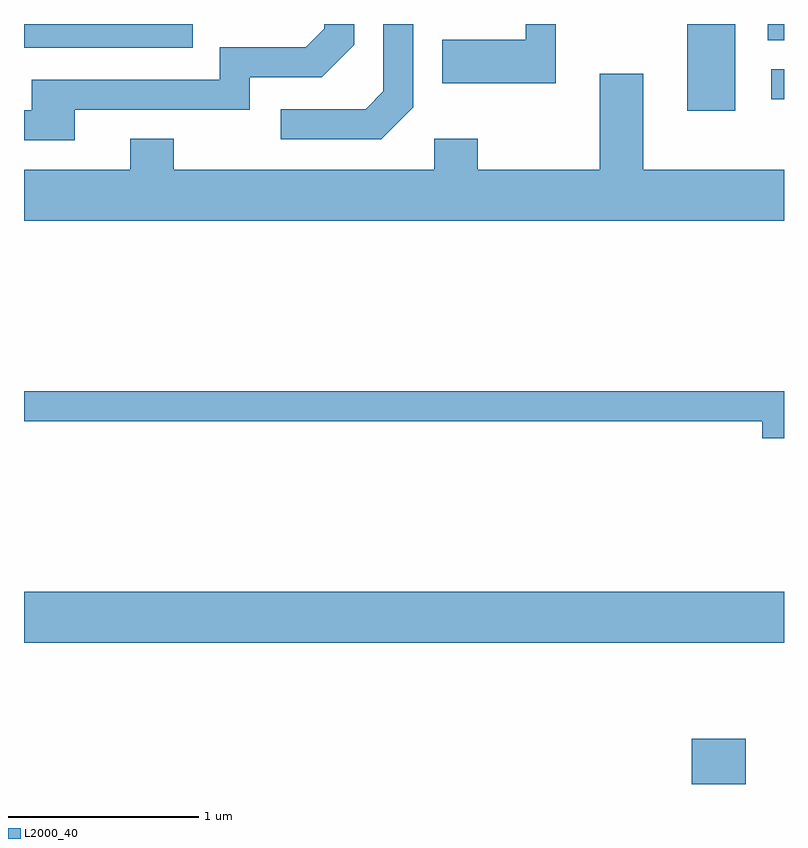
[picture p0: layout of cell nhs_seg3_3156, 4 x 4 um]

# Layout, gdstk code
import gdstk
lib = gdstk.Library(unit=1e-6, precision=1e-09)
def R(c, l, rs):  # rectangles x0, y0, x1, y1
    for r in rs: c.add(gdstk.rectangle(r[:2], r[2:], *l))
def P(c, l, *ps):  # polygons
    for p in ps: c.add(gdstk.Polygon(p, *l))
L2000_40 = (2000, 40)

nhs_seg3_3156 = lib.new_cell('nhs_seg3_3156')
R(nhs_seg3_3156, L2000_40, [(281.126,1171.892,281.409,1172.129), (277.611,1172.636,281.611,1172.904), (281.101,1175.436,281.354,1175.892), (281.543,1175.496,281.611,1175.654), (277.611,1175.766,278.498,1175.892), (281.526,1175.806,281.611,1175.892)])
P(nhs_seg3_3156, L2000_40, [(280.409,1175.892),(280.251,1175.892),(280.251,1175.809),(279.811,1175.809),(279.811,1175.581),(280.409,1175.581)],
  [(279.659,1175.454),(279.659,1175.892),(279.501,1175.892),(279.501,1175.537),(279.409,1175.444),(278.963,1175.444),(278.963,1175.286),(279.492,1175.286)],
  [(277.879,1175.441),(278.799,1175.441),(278.799,1175.611),(279.177,1175.611),(279.349,1175.784),(279.349,1175.892),(279.191,1175.892),(279.191,1175.867),(279.094,1175.769),(278.641,1175.769),(278.641,1175.599),(277.651,1175.599),(277.651,1175.439),(277.611,1175.439),(277.611,1175.281),(277.879,1175.281)],
  [(281.611,1175.124),(280.869,1175.124),(280.869,1175.629),(280.641,1175.629),(280.641,1175.124),(279.999,1175.124),(279.999,1175.289),(279.771,1175.289),(279.771,1175.124),(278.399,1175.124),(278.399,1175.289),(278.171,1175.289),(278.171,1175.124),(277.611,1175.124),(277.611,1174.856),(281.611,1174.856)],
  [(281.611,1173.959),(277.611,1173.959),(277.611,1173.801),(281.496,1173.801),(281.496,1173.711),(281.611,1173.711)])

lib.write_gds('nhs_seg3_3156.gds')
